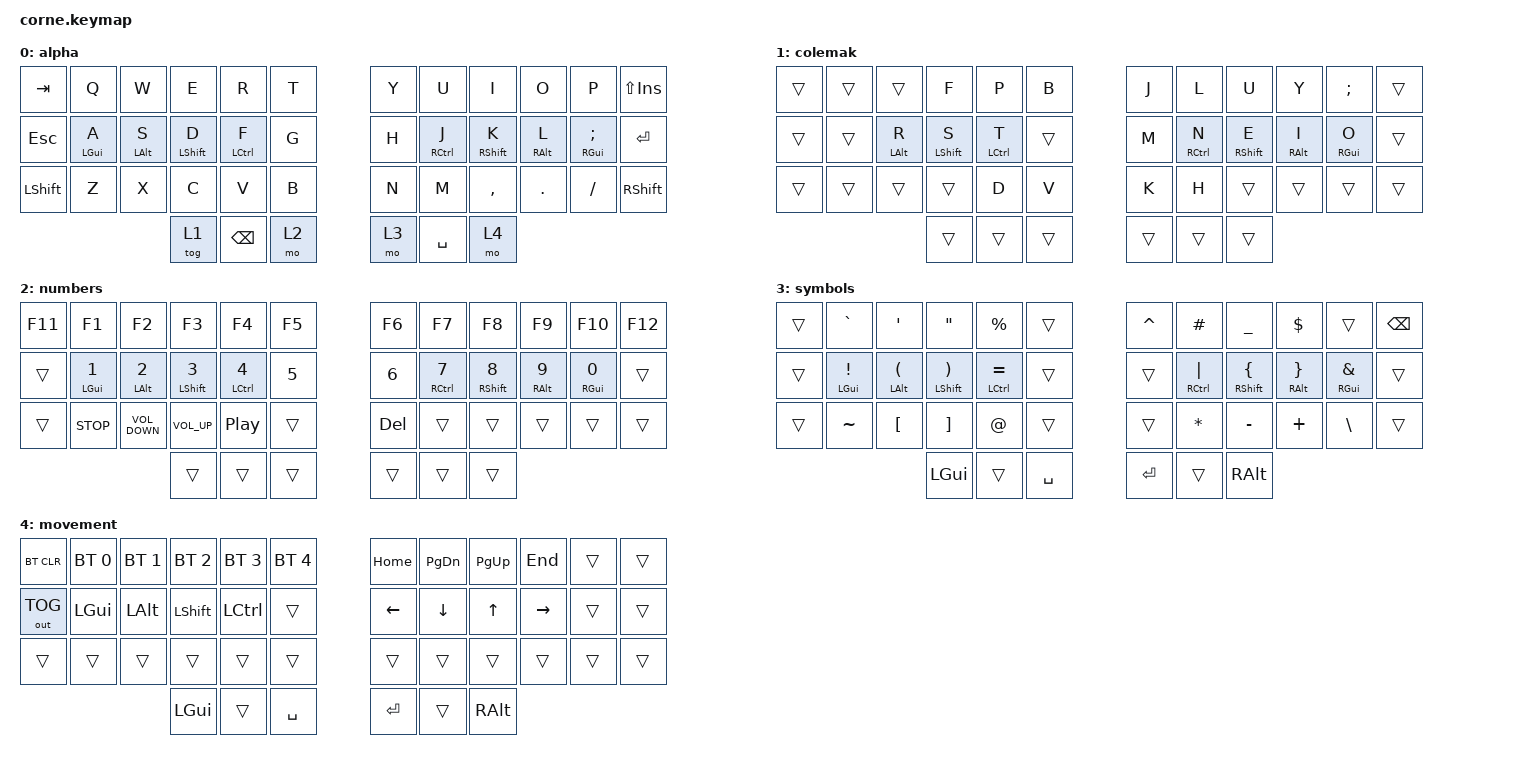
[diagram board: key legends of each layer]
/*
 * Copyright (c) 2020 The ZMK Contributors
 *
 * SPDX-License-Identifier: MIT
 */

#include <behaviors.dtsi>
#include <dt-bindings/zmk/bt.h>
#include <dt-bindings/zmk/keys.h>
#include <dt-bindings/zmk/outputs.h>

&mt {
    tapping-term-ms = <250>;
    flavor = "tap-preferred";
};

/ {
    keymap {
        compatible = "zmk,keymap";

        alpha {
            // -----------------------------------------------------------------------------------------
            // |  TAB |  Q  |  W  |  E  |  R  |  T  |   |  Y  |  U   |  I  |  O  |  P  | BKSP |
            // | CTRL |  A  |  S  |  D  |  F  |  G  |   |  H  |  J   |  K  |  L  |  ;  |  '   |
            // | SHFT |  Z  |  X  |  C  |  V  |  B  |   |  N  |  M   |  ,  |  .  |  /  | ESC  |
            //                    | GUI | LWR | SPC |   | ENT | RSE  | ALT |

            bindings = <
&kp TAB     &kp Q           &kp W           &kp E             &kp R               &kp T    &kp Y  &kp U                &kp I              &kp O            &kp P                    &kp LS(INS)
&kp ESCAPE  &mt LEFT_GUI A  &mt LEFT_ALT S  &mt LEFT_SHIFT D  &mt LEFT_CONTROL F  &kp G    &kp H  &mt RIGHT_CONTROL J  &mt RIGHT_SHIFT K  &mt RIGHT_ALT L  &mt RIGHT_GUI SEMICOLON  &kp ENTER
&kp LSHFT   &kp Z           &kp X           &kp C             &kp V               &kp B    &kp N  &kp M                &kp COMMA          &kp DOT          &kp FSLH                 &kp RIGHT_SHIFT
                                            &tog 1            &kp BACKSPACE       &mo 2    &mo 3  &kp SPACE            &mo 4
            >;
        };

        colemak {
            bindings = <
&trans  &trans  &trans          &kp F             &kp P               &kp B     &kp J   &kp L                &kp U              &kp Y            &kp SEMICOLON    &trans
&trans  &trans  &mt LEFT_ALT R  &mt LEFT_SHIFT S  &mt LEFT_CONTROL T  &trans    &kp M   &mt RIGHT_CONTROL N  &mt RIGHT_SHIFT E  &mt RIGHT_ALT I  &mt RIGHT_GUI O  &trans
&trans  &trans  &trans          &trans            &kp D               &kp V     &kp K   &kp H                &trans             &trans           &trans           &trans
                                &trans            &trans              &trans    &trans  &trans               &trans
            >;
        };

        numbers {
            bindings = <
&kp F11  &kp F1                 &kp F2                 &kp F3                   &kp F4                     &kp F5          &kp F6        &kp F7                      &kp F8              &kp F9            &kp F10           &kp F12
&trans   &mt LEFT_GUI NUMBER_1  &mt LEFT_ALT NUMBER_2  &mt LEFT_SHIFT NUMBER_3  &mt LEFT_CONTROL NUMBER_4  &kp NUMBER_5    &kp NUMBER_6  &mt RIGHT_CONTROL NUMBER_7  &mt RIGHT_SHIFT N8  &mt RIGHT_ALT N9  &mt RIGHT_GUI N0  &trans
&trans   &kp C_STOP             &kp C_VOLUME_DOWN      &kp C_VOLUME_UP          &kp C_PLAY_PAUSE           &trans          &kp DELETE    &trans                      &trans              &trans            &trans            &trans
                                                       &trans                   &trans                     &trans          &trans        &trans                      &trans
            >;
        };

        symbols {
            // -----------------------------------------------------------------------------------------
            // |  TAB |  !  |  @  |  #  |  $  |  %  |   |  ^  |  &  |  *  |  (  |  )  | BKSP |
            // | CTRL |     |     |     |     |     |   |  -  |  =  |  [  |  ]  |  \  |  `   |
            // | SHFT |     |     |     |     |     |   |  _  |  +  |  {  |  }  | "|" |  ~   |
            //                    | GUI |     | SPC |   | ENT |     | ALT |

            bindings = <
&trans  &kp GRAVE          &kp SQT                        &kp DOUBLE_QUOTES                 &kp PERCENT             &trans       &kp CARET  &kp HASH                &kp UNDERSCORE        &kp DOLLAR          &trans                   &kp BSPC
&trans  &mt LEFT_GUI EXCL  &mt LEFT_ALT LEFT_PARENTHESIS  &mt LEFT_SHIFT RIGHT_PARENTHESIS  &mt LEFT_CONTROL EQUAL  &trans       &trans     &mt RIGHT_CONTROL PIPE  &mt RIGHT_SHIFT LBRC  &mt RIGHT_ALT RBRC  &mt RIGHT_GUI AMPERSAND  &trans
&trans  &kp TILDE          &kp LBKT                       &kp RBKT                          &kp AT                  &trans       &trans     &kp ASTERISK            &kp MINUS             &kp PLUS            &kp BACKSLASH            &trans
                                                          &kp LGUI                          &trans                  &kp SPACE    &kp RET    &trans                  &kp RALT
            >;
        };

        movement {
            // -----------------------------------------------------------------------------------------
            // |  TAB |  1  |  2  |  3  |  4  |  5  |   |  6  |  7  |  8  |  9  |  0  | BKSP |
            // | BTCLR| BT1 | BT2 | BT3 | BT4 | BT5 |   | LFT | DWN |  UP | RGT |     |      |
            // | SHFT |     |     |     |     |     |   |     |     |     |     |     |      |
            //                    | GUI |     | SPC |   | ENT |     | ALT |

            bindings = <
&bt BT_CLR    &bt BT_SEL 0  &bt BT_SEL 1  &bt BT_SEL 2    &bt BT_SEL 3      &bt BT_SEL 4    &kp HOME  &kp PAGE_DOWN  &kp PAGE_UP  &kp END    &trans  &trans
&out OUT_TOG  &kp LEFT_GUI  &kp LEFT_ALT  &kp LEFT_SHIFT  &kp LEFT_CONTROL  &trans          &kp LEFT  &kp DOWN       &kp UP       &kp RIGHT  &trans  &trans
&trans        &trans        &trans        &trans          &trans            &trans          &trans    &trans         &trans       &trans     &trans  &trans
                                          &kp LGUI        &trans            &kp SPACE       &kp RET   &trans         &kp RALT
            >;
        };
    };
};
